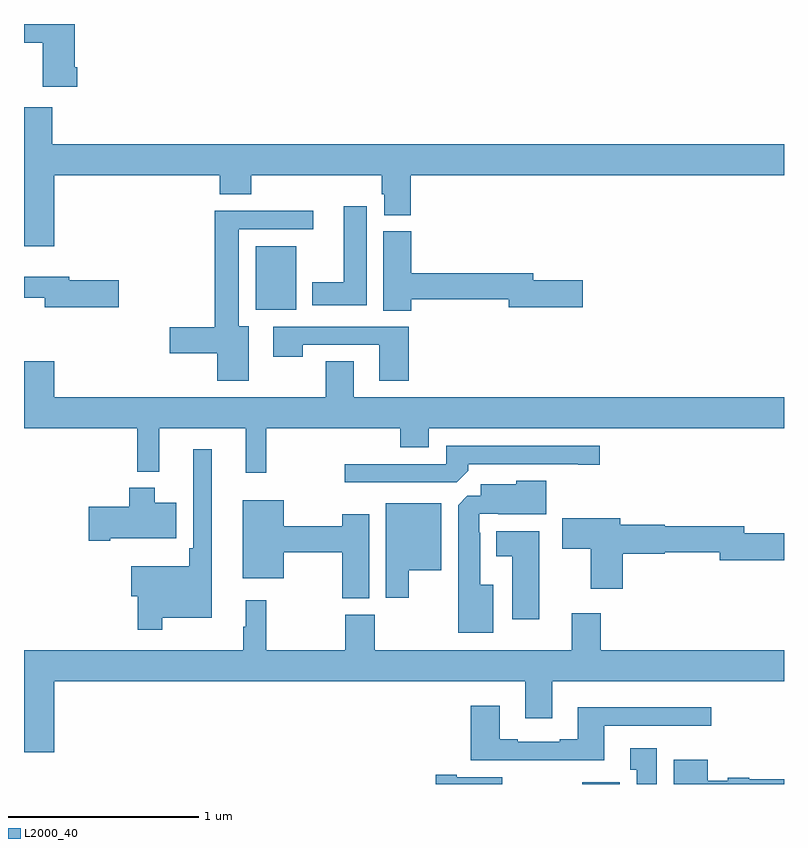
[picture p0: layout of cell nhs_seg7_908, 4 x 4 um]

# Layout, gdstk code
import gdstk
lib = gdstk.Library(unit=1e-6, precision=1e-09)
def R(c, l, rs):  # rectangles x0, y0, x1, y1
    for r in rs: c.add(gdstk.rectangle(r[:2], r[2:], *l))
def P(c, l, *ps):  # polygons
    for p in ps: c.add(gdstk.Polygon(p, *l))
L2000_40 = (2000, 40)

nhs_seg7_908 = lib.new_cell('nhs_seg7_908')
R(nhs_seg7_908, L2000_40, [(179.939,1076,180.136,1076.008), (178.22,1078.496,178.432,1078.831)])
P(nhs_seg7_908, L2000_40, [(177.281,1079.773),(177.268,1079.773),(177.268,1080),(177,1080),(177,1079.902),(177.098,1079.902),(177.098,1079.669),(177.281,1079.669)],
  [(177.16,1079.204),(178.031,1079.204),(178.031,1079.105),(178.196,1079.105),(178.196,1079.204),(178.883,1079.204),(178.883,1079.103),(178.895,1079.103),(178.895,1078.993),(179.036,1078.993),(179.036,1079.204),(181,1079.204),(181,1079.368),(177.149,1079.368),(177.149,1079.563),(177,1079.563),(177,1078.83),(177.16,1078.83)],
  [(178.804,1079.041),(178.682,1079.041),(178.682,1078.642),(178.517,1078.642),(178.517,1078.52),(178.804,1078.52)],
  [(178.183,1078.408),(178.129,1078.408),(178.129,1078.92),(178.522,1078.92),(178.522,1079.018),(178.004,1079.018),(178.004,1078.403),(177.768,1078.403),(177.768,1078.268),(178.016,1078.268),(178.016,1078.122),(178.183,1078.122)],
  [(179.039,1078.552),(179.552,1078.552),(179.552,1078.51),(179.941,1078.51),(179.941,1078.652),(179.68,1078.652),(179.68,1078.688),(179.039,1078.688),(179.039,1078.908),(178.892,1078.908),(178.892,1078.492),(179.039,1078.492)],
  [(177.499,1078.652),(177.238,1078.652),(177.238,1078.669),(177,1078.669),(177,1078.56),(177.11,1078.56),(177.11,1078.51),(177.499,1078.51)],
  [(179.024,1078.407),(178.311,1078.407),(178.311,1078.248),(178.467,1078.248),(178.467,1078.311),(178.871,1078.311),(178.871,1078.122),(179.024,1078.122)],
  [(178.276,1077.872),(178.979,1077.872),(178.979,1077.773),(179.131,1077.773),(179.131,1077.872),(181,1077.872),(181,1078.036),(178.735,1078.036),(178.735,1078.226),(178.588,1078.226),(178.588,1078.036),(177.16,1078.036),(177.16,1078.225),(177,1078.225),(177,1077.872),(177.595,1077.872),(177.595,1077.644),(177.713,1077.644),(177.713,1077.872),(178.166,1077.872),(178.166,1077.639),(178.276,1077.639)],
  [(179.339,1077.65),(179.339,1077.684),(179.918,1077.684),(179.918,1077.679),(180.031,1077.679),(180.031,1077.78),(179.223,1077.78),(179.223,1077.684),(178.689,1077.684),(178.689,1077.588),(179.277,1077.588)],
  [(177.727,1076.876),(177.988,1076.876),(177.988,1077.763),(177.891,1077.763),(177.891,1077.241),(177.871,1077.241),(177.871,1077.145),(177.564,1077.145),(177.564,1076.987),(177.598,1076.987),(177.598,1076.811),(177.727,1076.811)],
  [(179.47,1077.049),(179.401,1077.049),(179.401,1077.323),(179.397,1077.323),(179.397,1077.423),(179.497,1077.423),(179.497,1077.419),(179.749,1077.419),(179.749,1077.595),(179.592,1077.595),(179.592,1077.577),(179.405,1077.577),(179.405,1077.516),(179.334,1077.516),(179.285,1077.467),(179.285,1076.795),(179.47,1076.795)],
  [(177.454,1077.293),(177.802,1077.293),(177.802,1077.481),(177.688,1077.481),(177.688,1077.559),(177.554,1077.559),(177.554,1077.459),(177.342,1077.459),(177.342,1077.281),(177.454,1077.281)],
  [(178.816,1077.421),(178.675,1077.421),(178.675,1077.356),(178.366,1077.356),(178.366,1077.493),(178.151,1077.493),(178.151,1077.083),(178.366,1077.083),(178.366,1077.22),(178.675,1077.22),(178.675,1076.977),(178.816,1076.977)],
  [(179.026,1077.125),(179.197,1077.125),(179.197,1077.478),(178.904,1077.478),(178.904,1076.979),(179.026,1076.979)],
  [(180.152,1077.212),(180.372,1077.212),(180.372,1077.22),(180.662,1077.22),(180.662,1077.178),(181,1077.178),(181,1077.32),(180.79,1077.32),(180.79,1077.356),(180.372,1077.356),(180.372,1077.364),(180.139,1077.364),(180.139,1077.4),(179.832,1077.4),(179.832,1077.238),(179.984,1077.238),(179.984,1077.027),(180.152,1077.027)],
  [(179.713,1077.331),(179.486,1077.331),(179.486,1077.2),(179.57,1077.2),(179.57,1076.868),(179.713,1076.868)],
  [(177.16,1076.54),(179.639,1076.54),(179.639,1076.346),(179.779,1076.346),(179.779,1076.54),(181,1076.54),(181,1076.704),(180.035,1076.704),(180.035,1076.899),(179.882,1076.899),(179.882,1076.704),(178.845,1076.704),(178.845,1076.892),(178.69,1076.892),(178.69,1076.704),(178.276,1076.704),(178.276,1076.968),(178.166,1076.968),(178.166,1076.828),(178.155,1076.828),(178.155,1076.704),(177,1076.704),(177,1076.166),(177.16,1076.166)],
  [(180.055,1076.307),(180.616,1076.307),(180.616,1076.404),(179.915,1076.404),(179.915,1076.236),(179.819,1076.236),(179.819,1076.223),(179.599,1076.223),(179.599,1076.236),(179.503,1076.236),(179.503,1076.413),(179.351,1076.413),(179.351,1076.126),(180.055,1076.126)],
  [(180.331,1076.188),(180.191,1076.188),(180.191,1076.075),(180.224,1076.075),(180.224,1076),(180.331,1076)],
  [(181,1076.024),(180.816,1076.024),(180.816,1076.032),(180.705,1076.032),(180.705,1076.017),(180.598,1076.017),(180.598,1076.128),(180.419,1076.128),(180.419,1076),(181,1076)],
  [(179.518,1076.035),(179.278,1076.035),(179.278,1076.048),(179.166,1076.048),(179.166,1076),(179.518,1076)])

lib.write_gds('nhs_seg7_908.gds')
